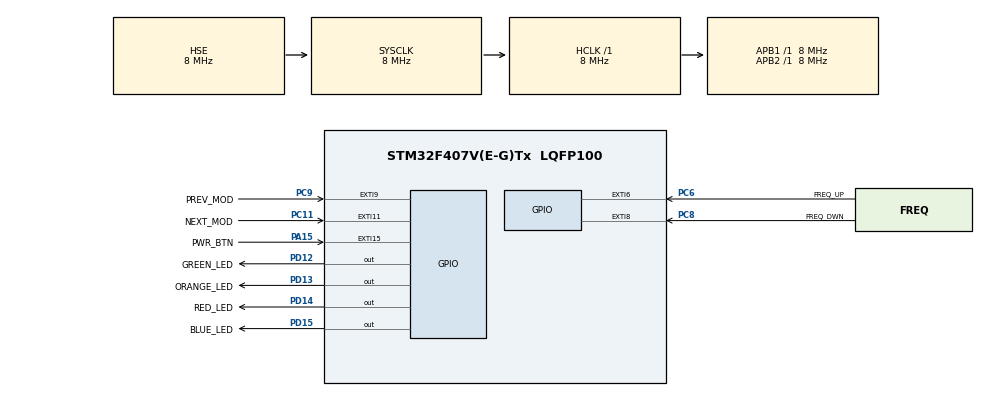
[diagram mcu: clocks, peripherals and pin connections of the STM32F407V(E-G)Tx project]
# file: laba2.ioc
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Mcu.Family=STM32F4
Mcu.Name=STM32F407V(E-G)Tx
Mcu.Package=LQFP100
NVIC.EXTI15_10_IRQn=true\:0\:0\:false\:false\:true\:true\:true
NVIC.EXTI9_5_IRQn=true\:0\:0\:false\:false\:true\:true\:true
NVIC.PriorityGroup=NVIC_PRIORITYGROUP_4
PA13.Mode=Serial_Wire
PA13.Signal=SYS_JTMS-SWDIO
PA14.Mode=Serial_Wire
PA14.Signal=SYS_JTCK-SWCLK
PA15.GPIO_Label=PWR_BTN
PA15.GPIO_ModeDefaultEXTI=GPIO_MODE_IT_FALLING
PA15.Signal=GPXTI15
PC11.GPIO_Label=NEXT_MOD
PC11.GPIO_ModeDefaultEXTI=GPIO_MODE_IT_FALLING
PC11.Signal=GPXTI11
PC6.GPIO_Label=FREQ_UP
PC6.GPIO_ModeDefaultEXTI=GPIO_MODE_IT_FALLING
PC6.Signal=GPXTI6
PC8.GPIO_Label=FREQ_DWN
PC8.GPIO_ModeDefaultEXTI=GPIO_MODE_IT_FALLING
PC8.Signal=GPXTI8
PC9.GPIO_Label=PREV_MOD
PC9.GPIO_ModeDefaultEXTI=GPIO_MODE_IT_FALLING
PC9.Signal=GPXTI9
PD12.GPIO_Label=GREEN_LED
PD12.Signal=GPIO_Output
PD13.GPIO_Label=ORANGE_LED
PD13.Signal=GPIO_Output
PD14.GPIO_Label=RED_LED
PD14.Signal=GPIO_Output
PD15.GPIO_Label=BLUE_LED
PD15.Signal=GPIO_Output
PH0-OSC_IN.Mode=HSE-External-Oscillator
PH0-OSC_IN.Signal=RCC_OSC_IN
PH1-OSC_OUT.Mode=HSE-External-Oscillator
PH1-OSC_OUT.Signal=RCC_OSC_OUT
ProjectManager.HeapSize=0x200
ProjectManager.StackSize=0x400
ProjectManager.TargetToolchain=STM32CubeIDE
RCC.48MHZClocksFreq_Value=24000000
RCC.AHBFreq_Value=8000000
RCC.APB1Freq_Value=8000000
RCC.APB1TimFreq_Value=8000000
RCC.APB2Freq_Value=8000000
RCC.APB2TimFreq_Value=8000000
RCC.CortexFreq_Value=8000000
RCC.HCLKFreq_Value=8000000
RCC.HSE_VALUE=8000000
RCC.HSI_VALUE=16000000
RCC.LSE_VALUE=32768
RCC.PLLSourceVirtual=RCC_PLLSOURCE_HSE
RCC.SYSCLKFreq_VALUE=8000000
RCC.SYSCLKSource=RCC_SYSCLKSOURCE_HSE
RCC.VCOOutputFreq_Value=96000000
board=custom

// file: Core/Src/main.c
/* USER CODE BEGIN Header */
/**
  ******************************************************************************
  * @file           : main.c
  * @brief          : Main program body
  ******************************************************************************
  * @attention
  *
  * <h2><center>&copy; Copyright (c) 2021 STMicroelectronics.
  * All rights reserved.</center></h2>
  *
  * This software component is licensed by ST under BSD 3-Clause license,
  * the "License"; You may not use this file except in compliance with the
  * License. You may obtain a copy of the License at:
  *                        opensource.org/licenses/BSD-3-Clause
  *
  ******************************************************************************
  */
/* USER CODE END Header */
#include "main.h"

/* USER CODE BEGIN PD */
#define MAX_COUNT_MODE 3
#define MAX_FREQUNCY 250
#define MIN_FREQUNCY 10
#define SPEED 2
#define LED_COUNT 4

/* USER CODE END PD */

/* USER CODE BEGIN PV */

_Bool power = 1;
uint8_t mode = 1;
uint8_t frequncy = 100;
uint16_t leds[LED_COUNT] = {GREEN_LED_Pin, ORANGE_LED_Pin, RED_LED_Pin, BLUE_LED_Pin};

/* USER CODE END PV */

void SystemClock_Config(void);
static void MX_GPIO_Init(void);

/* USER CODE BEGIN 0 */
void LED_MODE(uint8_t led)
{
	switch (mode)
	{
	case 1:
		HAL_GPIO_TogglePin(GPIOD, leds[led]);
		HAL_Delay(SPEED*frequncy);
		break;
	case 2:
		HAL_GPIO_WritePin(GPIOD, leds[led], 1);
		HAL_Delay(SPEED*frequncy);
		HAL_GPIO_WritePin(GPIOD, leds[led], 0);
		break;
	case 3:
		HAL_GPIO_WritePin(GPIOD, leds[led], 1);
		HAL_Delay(SPEED*frequncy);
		HAL_GPIO_WritePin(GPIOD, leds[led == LED_COUNT - 1 ? 0 : led + 1], 1);
		HAL_GPIO_WritePin(GPIOD, leds[led == 0 ? LED_COUNT - 1 : led - 1], 0);

		break;
	}
}
void led_clear(void)
{
	for(uint8_t i = 0; i < LED_COUNT; HAL_GPIO_WritePin(GPIOD, leds[i], 0), i++);
}
/* USER CODE END 0 */

int main(void)
{
  /* USER CODE BEGIN 1 */
	uint8_t current_led = 0;
  /* USER CODE END 1 */

  /* MCU Configuration--------------------------------------------------------*/

  /* Reset of all peripherals, Initializes the Flash interface and the Systick. */
  HAL_Init();

  /* Configure the system clock */
  SystemClock_Config();

  /* Initialize all configured peripherals */
  MX_GPIO_Init();

  /* Infinite loop */
  /* USER CODE BEGIN WHILE */
  while (1)
  {
	  if (power)
		  LED_MODE(current_led);
	  else
		  led_clear();
	  current_led = current_led < 3 ? ++current_led : 0;
    /* USER CODE END WHILE */

  }
}

void SystemClock_Config(void)
{
  RCC_OscInitTypeDef RCC_OscInitStruct = {0};
  RCC_ClkInitTypeDef RCC_ClkInitStruct = {0};

  /** Configure the main internal regulator output voltage
  */
  __HAL_RCC_PWR_CLK_ENABLE();
  __HAL_PWR_VOLTAGESCALING_CONFIG(PWR_REGULATOR_VOLTAGE_SCALE1);
  /** Initializes the RCC Oscillators according to the specified parameters
  * in the RCC_OscInitTypeDef structure.
  */
  RCC_OscInitStruct.OscillatorType = RCC_OSCILLATORTYPE_HSE;
  RCC_OscInitStruct.HSEState = RCC_HSE_ON;
  RCC_OscInitStruct.PLL.PLLState = RCC_PLL_NONE;
  if (HAL_RCC_OscConfig(&RCC_OscInitStruct) != HAL_OK)
  {
    Error_Handler();
  }
  /** Initializes the CPU, AHB and APB buses clocks
  */
  RCC_ClkInitStruct.ClockType = RCC_CLOCKTYPE_HCLK|RCC_CLOCKTYPE_SYSCLK
                              |RCC_CLOCKTYPE_PCLK1|RCC_CLOCKTYPE_PCLK2;
  RCC_ClkInitStruct.SYSCLKSource = RCC_SYSCLKSOURCE_HSE;
  RCC_ClkInitStruct.AHBCLKDivider = RCC_SYSCLK_DIV1;
  RCC_ClkInitStruct.APB1CLKDivider = RCC_HCLK_DIV1;
  RCC_ClkInitStruct.APB2CLKDivider = RCC_HCLK_DIV1;

  if (HAL_RCC_ClockConfig(&RCC_ClkInitStruct, FLASH_LATENCY_0) != HAL_OK)
  {
    Error_Handler();
  }
}

static void MX_GPIO_Init(void)
{
  GPIO_InitTypeDef GPIO_InitStruct = {0};

  /* GPIO Ports Clock Enable */
  __HAL_RCC_GPIOH_CLK_ENABLE();
  __HAL_RCC_GPIOD_CLK_ENABLE();
  __HAL_RCC_GPIOC_CLK_ENABLE();
  __HAL_RCC_GPIOA_CLK_ENABLE();

  /*Configure GPIO pin Output Level */
  HAL_GPIO_WritePin(GPIOD, GREEN_LED_Pin|ORANGE_LED_Pin|RED_LED_Pin|BLUE_LED_Pin, GPIO_PIN_RESET);

  /*Configure GPIO pins : GREEN_LED_Pin ORANGE_LED_Pin RED_LED_Pin BLUE_LED_Pin */
  GPIO_InitStruct.Pin = GREEN_LED_Pin|ORANGE_LED_Pin|RED_LED_Pin|BLUE_LED_Pin;
  GPIO_InitStruct.Mode = GPIO_MODE_OUTPUT_PP;
  GPIO_InitStruct.Pull = GPIO_NOPULL;
  GPIO_InitStruct.Speed = GPIO_SPEED_FREQ_LOW;
  HAL_GPIO_Init(GPIOD, &GPIO_InitStruct);

  /*Configure GPIO pins : FREQ_UP_Pin FREQ_DWN_Pin PREV_MOD_Pin NEXT_MOD_Pin */
  GPIO_InitStruct.Pin = FREQ_UP_Pin|FREQ_DWN_Pin|PREV_MOD_Pin|NEXT_MOD_Pin;
  GPIO_InitStruct.Mode = GPIO_MODE_IT_FALLING;
  GPIO_InitStruct.Pull = GPIO_NOPULL;
  HAL_GPIO_Init(GPIOC, &GPIO_InitStruct);

  /*Configure GPIO pin : PWR_BTN_Pin */
  GPIO_InitStruct.Pin = PWR_BTN_Pin;
  GPIO_InitStruct.Mode = GPIO_MODE_IT_FALLING;
  GPIO_InitStruct.Pull = GPIO_NOPULL;
  HAL_GPIO_Init(PWR_BTN_GPIO_Port, &GPIO_InitStruct);

  /* EXTI interrupt init*/
  HAL_NVIC_SetPriority(EXTI9_5_IRQn, 0, 0);
  HAL_NVIC_EnableIRQ(EXTI9_5_IRQn);

  HAL_NVIC_SetPriority(EXTI15_10_IRQn, 0, 0);
  HAL_NVIC_EnableIRQ(EXTI15_10_IRQn);

}

/* USER CODE BEGIN 4 */
	void HAL_GPIO_EXTI_Callback(uint16_t GPIO_Pin)
	{
		switch (GPIO_Pin)
		{
			case PWR_BTN_Pin:
				power = power == 1 ? 0 : 1;
				break;
			case FREQ_UP_Pin:
				frequncy = frequncy < MAX_FREQUNCY ? frequncy+=10 : MAX_FREQUNCY;
				break;
			case FREQ_DWN_Pin:
				frequncy = frequncy > MIN_FREQUNCY ? frequncy-=10 : MIN_FREQUNCY;
				break;
			case NEXT_MOD_Pin:
				led_clear();
				mode = mode < MAX_COUNT_MODE ? ++mode : 1;
				break;
			case PREV_MOD_Pin:
				led_clear();
				mode = mode > 1 ? --mode : MAX_COUNT_MODE;
				break;
		}
	}
/* USER CODE END 4 */

void Error_Handler(void)
{
  __disable_irq();
  while (1)
  {
  }
}

/************************ (C) COPYRIGHT STMicroelectronics *****END OF FILE****/
